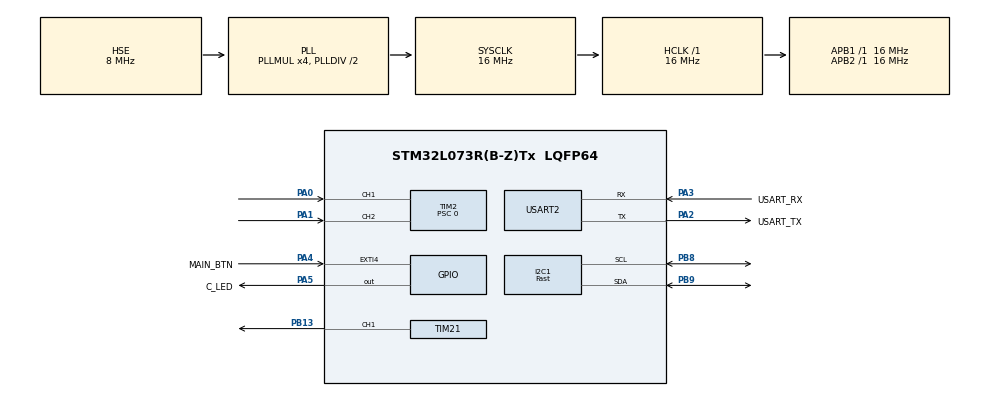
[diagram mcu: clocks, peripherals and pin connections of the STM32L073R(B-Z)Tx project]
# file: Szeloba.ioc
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I2C1.I2C_Speed_Mode=I2C_Fast
I2C1.Timing=0x0010061A
Mcu.Family=STM32L0
Mcu.Name=STM32L073R(B-Z)Tx
Mcu.Package=LQFP64
NVIC.EXTI4_15_IRQn=true\:0\:0\:false\:false\:true\:true\:true\:true
NVIC.TIM21_IRQn=true\:0\:0\:false\:false\:true\:true\:true\:true
NVIC.TIM22_IRQn=true\:0\:0\:false\:false\:true\:true\:true\:true
NVIC.TIM2_IRQn=true\:0\:0\:false\:false\:true\:true\:true\:true
NVIC.TIM6_DAC_IRQn=true\:0\:0\:false\:false\:true\:true\:true\:true
NVIC.TIM7_IRQn=true\:0\:0\:false\:false\:true\:true\:true\:true
PA0.Signal=S_TIM2_CH1
PA1.Signal=S_TIM2_CH2
PA13.GPIO_Label=TMS
PA13.Mode=Serial_Wire
PA13.Signal=SYS_SWDIO
PA14.GPIO_Label=TCK
PA14.Mode=Serial_Wire
PA14.Signal=SYS_SWCLK
PA2.GPIO_Label=USART_TX
PA2.Mode=Asynchronous
PA2.Signal=USART2_TX
PA3.GPIO_Label=USART_RX
PA3.Mode=Asynchronous
PA3.Signal=USART2_RX
PA4.GPIO_Label=MAIN_BTN
PA4.GPIO_ModeDefaultEXTI=GPIO_MODE_IT_FALLING
PA4.GPIO_PuPd=GPIO_PULLUP
PA4.Signal=GPXTI4
PA5.GPIO_Label=C_LED
PA5.Signal=GPIO_Output
PB13.Signal=S_TIM21_CH1
PB8.Mode=I2C
PB8.Signal=I2C1_SCL
PB9.Mode=I2C
PB9.Signal=I2C1_SDA
PC14-OSC32_IN.Mode=LSE-External-Oscillator
PC14-OSC32_IN.Signal=RCC_OSC32_IN
PC15-OSC32_OUT.Mode=LSE-External-Oscillator
PC15-OSC32_OUT.Signal=RCC_OSC32_OUT
PH0-OSC_IN.GPIO_Label=MCO
PH0-OSC_IN.Mode=HSE-External-Clock-Source
PH0-OSC_IN.Signal=RCC_OSC_IN
ProjectManager.HeapSize=0x200
ProjectManager.StackSize=0x400
ProjectManager.TargetToolchain=STM32CubeIDE
RCC.AHBFreq_Value=16000000
RCC.APB1Freq_Value=16000000
RCC.APB1TimFreq_Value=16000000
RCC.APB2Freq_Value=16000000
RCC.APB2TimFreq_Value=16000000
RCC.HCLKFreq_Value=16000000
RCC.HSE_VALUE=8000000
RCC.HSI16_VALUE=16000000
RCC.HSI48_VALUE=48000000
RCC.HSI_VALUE=16000000
RCC.MSI_VALUE=2097000
RCC.PLLMUL=RCC_PLLMUL_4
RCC.PLLSourceVirtual=RCC_PLLSOURCE_HSE
RCC.SYSCLKFreq_VALUE=16000000
RCC.SYSCLKSource=RCC_SYSCLKSOURCE_PLLCLK
RCC.Usart2ClockSelection=RCC_USART2CLKSOURCE_SYSCLK
RCC.VCOOutputFreq_Value=32000000
SH.S_TIM21_CH1.0=TIM21_CH1,PWM Generation1 CH1
SH.S_TIM2_CH1.0=TIM2_CH1,Encoder_Interface
SH.S_TIM2_CH2.0=TIM2_CH2,Encoder_Interface
TIM2.ClockDivision=TIM_CLOCKDIVISION_DIV1
TIM2.CounterMode=TIM_COUNTERMODE_UP
TIM2.EncoderMode=TIM_ENCODERMODE_TI1
TIM2.IC1Filter=15
TIM2.IC1Prescaler=TIM_ICPSC_DIV1
TIM2.IC2Filter=15
TIM2.IC2Prescaler=TIM_ICPSC_DIV1
TIM2.Period=65535
TIM2.Prescaler=0
TIM21.AutoReloadPreload=TIM_AUTORELOAD_PRELOAD_ENABLE
TIM21.Channel-PWM\ Generation1\ CH1=TIM_CHANNEL_1
TIM21.Period=999
TIM21.Prescaler=99
TIM21.Pulse-PWM\ Generation1\ CH1=100
TIM21.TIM_MasterOutputTrigger=TIM_TRGO_UPDATE
TIM21.TIM_MasterSlaveMode=TIM_MASTERSLAVEMODE_ENABLE
TIM22.AutoReloadPreload=TIM_AUTORELOAD_PRELOAD_ENABLE
TIM22.Period=199
TIM6.Period=199
TIM6.Prescaler=7999
TIM7.Period=199
TIM7.Prescaler=7999
USART2.VirtualMode-Asynchronous=VM_ASYNC
VP_TIM21_VS_ClockSourceINT.Mode=Internal
VP_TIM22_VS_ClockSourceITR.Mode=TriggerSource_ITR0
VP_TIM22_VS_ControllerModeClock.Mode=Clock Mode
VP_TIM6_VS_ClockSourceINT.Mode=Enable_Timer
VP_TIM7_VS_ClockSourceINT.Mode=Enable_Timer
board=NUCLEO-L073RZ

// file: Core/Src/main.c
/* USER CODE BEGIN Header */
/**
  ******************************************************************************
  * @file           : main.c
  * @brief          : Main program body
  ******************************************************************************
  * @attention
  *
  * Copyright (c) 2022 STMicroelectronics.
  * All rights reserved.
  *
  * This software is licensed under terms that can be found in the LICENSE file
  * in the root directory of this software component.
  * If no LICENSE file comes with this software, it is provided AS-IS.
  *
  ******************************************************************************
  */
/* USER CODE END Header */
#include "main.h"
#include "i2c.h"
#include "tim.h"
#include "usart.h"
#include "gpio.h"

/* USER CODE BEGIN Includes */
#include "ssd1306_adds.h"

/* USER CODE END Includes */

/* USER CODE BEGIN PV */

// NUMBER OF SAVED PROJECTS
extern const uint8_t G_PROJECT_COUNT;

// MAIN INTERFACE VAR's
extern volatile uint8_t g_workStep;  		// Wskazuje aktualny krok w ustawieniach
extern volatile uint8_t g_projectSelect;  	// Wskazuje aktualnie wybrany projekt w menu wyboru projektow ( step 1)
extern volatile uint8_t g_selector;			// zmienna do wskazania określonej opcji w menu wyboru
extern volatile bool g_correctionFlag;		// informuje, czy ustawienia są wpisywane, czy poprawiane

// TIM2 / ENCODER - LEFT/RIGHT
volatile uint16_t encoderCount				= 0;		// aktualne polozenie enkodera
volatile uint16_t encoderCountPrev 			= 16000; 	// poprzednie polozenie enkodera

// TIM6 / BUTTON
static volatile uint8_t pressBtnCounter		= 0;	// licznik czasu wcisniecia przycisku

// MAIN VAR
volatile uint16_t g_width_MAIN, g_turns_MAIN, g_diameter_MAIN, g_speed_MAIN;

/* USER CODE END PV */

void SystemClock_Config(void);

int main(void)
{

  /* MCU Configuration--------------------------------------------------------*/

  /* Reset of all peripherals, Initializes the Flash interface and the Systick. */
  HAL_Init();

  /* Configure the system clock */
  SystemClock_Config();

  /* Initialize all configured peripherals */
  MX_GPIO_Init();
  MX_USART2_UART_Init();
  MX_I2C1_Init();
  MX_TIM2_Init();
  MX_TIM6_Init();
  MX_TIM7_Init();
  MX_TIM21_Init();
  MX_TIM22_Init();
  /* USER CODE BEGIN 2 */

  // structures initialization
  Structures_Init();

  // display initialization
  SSD1306_Init();
  SSD1306_SetContrast(0);
  Set_Theme();

  // timer TIM2 Encoder
  __HAL_TIM_SET_COUNTER(&TIMER_ENCODER, 32000);
  HAL_TIM_Encoder_Start_IT(&TIMER_ENCODER, TIM_CHANNEL_ALL);

  bool workStart = 0; 					// określa zakończenie konfiguracji wstępnej i start pracy

  /* USER CODE END 2 */

  /* Infinite loop */
  while (1)
  {

    /* USER CODE BEGIN 3 */
	  if (workStart)
	  {
		  //Steppers_Control_Init(g_width_MAIN, g_turns_MAIN, g_diameter_MAIN, g_speed_MAIN);
	  }

  }
  /* USER CODE END 3 */
}

void SystemClock_Config(void)
{
  RCC_OscInitTypeDef RCC_OscInitStruct = {0};
  RCC_ClkInitTypeDef RCC_ClkInitStruct = {0};
  RCC_PeriphCLKInitTypeDef PeriphClkInit = {0};

  /** Configure the main internal regulator output voltage
  */
  __HAL_PWR_VOLTAGESCALING_CONFIG(PWR_REGULATOR_VOLTAGE_SCALE1);

  /** Initializes the RCC Oscillators according to the specified parameters
  * in the RCC_OscInitTypeDef structure.
  */
  RCC_OscInitStruct.OscillatorType = RCC_OSCILLATORTYPE_HSE;
  RCC_OscInitStruct.HSEState = RCC_HSE_BYPASS;
  RCC_OscInitStruct.PLL.PLLState = RCC_PLL_ON;
  RCC_OscInitStruct.PLL.PLLSource = RCC_PLLSOURCE_HSE;
  RCC_OscInitStruct.PLL.PLLMUL = RCC_PLLMUL_4;
  RCC_OscInitStruct.PLL.PLLDIV = RCC_PLLDIV_2;
  if (HAL_RCC_OscConfig(&RCC_OscInitStruct) != HAL_OK)
  {
    Error_Handler();
  }

  /** Initializes the CPU, AHB and APB buses clocks
  */
  RCC_ClkInitStruct.ClockType = RCC_CLOCKTYPE_HCLK|RCC_CLOCKTYPE_SYSCLK
                              |RCC_CLOCKTYPE_PCLK1|RCC_CLOCKTYPE_PCLK2;
  RCC_ClkInitStruct.SYSCLKSource = RCC_SYSCLKSOURCE_PLLCLK;
  RCC_ClkInitStruct.AHBCLKDivider = RCC_SYSCLK_DIV1;
  RCC_ClkInitStruct.APB1CLKDivider = RCC_HCLK_DIV1;
  RCC_ClkInitStruct.APB2CLKDivider = RCC_HCLK_DIV1;

  if (HAL_RCC_ClockConfig(&RCC_ClkInitStruct, FLASH_LATENCY_0) != HAL_OK)
  {
    Error_Handler();
  }
  PeriphClkInit.PeriphClockSelection = RCC_PERIPHCLK_USART2|RCC_PERIPHCLK_I2C1;
  PeriphClkInit.Usart2ClockSelection = RCC_USART2CLKSOURCE_SYSCLK;
  PeriphClkInit.I2c1ClockSelection = RCC_I2C1CLKSOURCE_PCLK1;
  if (HAL_RCCEx_PeriphCLKConfig(&PeriphClkInit) != HAL_OK)
  {
    Error_Handler();
  }
}

/* USER CODE BEGIN 4 */

/* **********************************************IRQ************************************* */
// =========================================================================================
/* TIMERS - ENCODER */
// =========================================================================================
void HAL_TIM_IC_CaptureCallback(TIM_HandleTypeDef *htim)
{
	if (htim->Instance == TIM2)
	{
		uint8_t tim7BusyFlag = HAL_TIM_Base_GetState(&TIMER_ENCODER_BUFFER);
		uint8_t encoderBusyFlag = HAL_TIM_Encoder_GetState(&TIMER_ENCODER);

		if (tim7BusyFlag == 1 && encoderBusyFlag == 1) HAL_TIM_Base_Start_IT(&TIMER_ENCODER_BUFFER);
	}
}

// =========================================================================================
/* TIMERS - COUNTING */
// =========================================================================================
void HAL_TIM_PeriodElapsedCallback(TIM_HandleTypeDef *htim)
{
	// ========================
	/* TIM21 */
	// ========================
	if (htim->Instance == TIM21)
	{
	}
	// ========================
	/* TIM22 */
	// ========================
	if (htim->Instance == TIM22)
	{
		HAL_GPIO_TogglePin(C_LED_GPIO_Port, C_LED_Pin);
	}
	// ========================
	/* TIM6 - CLICK/BTN BUFFER */
	// ========================
	if (htim->Instance == TIM6)
	{
		bool btnBusyFlag = HAL_GPIO_ReadPin(GPIOA, MAIN_BTN_Pin);

		HAL_TIM_Base_Stop_IT(&TIMER_BUTTON_BUFFER);
		if (!btnBusyFlag)
		{
			HAL_TIM_Base_Start_IT(&TIMER_BUTTON_BUFFER);
			if ((g_workStep >= 2 && g_workStep <=61)) pressBtnCounter++;
			if (pressBtnCounter > PRESS_BTN_TIME)
			{
				HAL_TIM_Base_Stop_IT(&TIMER_BUTTON_BUFFER);
				bool exception = 0;
				switch (g_workStep)
				{
					case STEP_PROJECT_DETAILS:
						exception = 1;
						g_workStep = STEP_PROJECT_TASKS_LIST;
						break;
					case STEP_PROJECT_TASKS_LIST:
						exception = 1;
						g_workStep = STEP_SELECT_PROJECT;
						break;
					case STEP_WIDTH_SET:
						g_width_MAIN = Array_To_Int_Change_Value();
						Save_Set_Value(g_width_MAIN);
						break;
					case STEP_TURNS_SET:
						g_turns_MAIN = Array_To_Int_Change_Value();
						Save_Set_Value(g_turns_MAIN);
						break;
					case STEP_DIAMETER_SET:
						g_diameter_MAIN = Array_To_Int_Change_Value();
						Save_Set_Value(g_diameter_MAIN);
						break;
					case STEP_SPEED_SET:
						g_speed_MAIN = Array_To_Int_Change_Value();
						Save_Set_Value(g_speed_MAIN);
						break;
					case STEP_CORRECTNES_QUERY:
						exception = 1;
						if (!g_selector) g_workStep = STEP_START_POSITION_SET;
						else
						{
							g_workStep = STEP_WIDTH_SET;
							g_correctionFlag = 1;
						}
						g_selector = 0;
						break;
				}
				if (!exception)
				{
					g_workStep++;

				}
				pressBtnCounter = 0;
				Set_Theme();
			}
		}
		if (btnBusyFlag)
		{
			pressBtnCounter = 0;
			switch (g_workStep)
			{
				case STEP_SELECT_PROJECT:
					if (g_projectSelect == 0) g_workStep = STEP_WIDTH_SET;
					else g_workStep = STEP_PROJECT_DETAILS;
					Set_Theme();
					break;
				case STEP_PROJECT_DETAILS:
					g_workStep = STEP_SELECT_PROJECT;
					Set_Theme();
					break;
				case STEP_WIDTH_SET:
					Show_Value_Screen(VAL_TYPE_CARCASS_WIDTH, VALUE_CHANGE_FLAG_NO, 0, RUN_FLAG_CONTI);
					break;
				case STEP_TURNS_SET:
					Show_Value_Screen(VAL_TYPE_CARCASS_COIL_TURNS, VALUE_CHANGE_FLAG_NO, 0, RUN_FLAG_CONTI);
					break;
				case STEP_DIAMETER_SET:
					Show_Value_Screen(VAL_TYPE_WINDING_DIAMETER, VALUE_CHANGE_FLAG_NO, 0, RUN_FLAG_CONTI);
					break;
				case STEP_SPEED_SET:
					Show_Value_Screen(VAL_TYPE_WINDING_SPEED, VALUE_CHANGE_FLAG_NO, 0, RUN_FLAG_CONTI);
					break;
				case STEP_SUMMARY:
					g_workStep = STEP_CORRECTNES_QUERY;
					Set_Theme();
					break;
			}
		}
	}

	// ========================
	/* TIM7 - BUFFER LEFT/RIGHT */
	// ========================
	if (htim->Instance == TIM7)
	{
		bool direction;

		HAL_TIM_Base_Stop_IT(&TIMER_ENCODER_BUFFER);
		encoderCount = (__HAL_TIM_GET_COUNTER(&TIMER_ENCODER) / 2);
		if (encoderCount != encoderCountPrev)
		{
			if (encoderCount > encoderCountPrev) direction = 1;
			else direction = 0;
			encoderCountPrev = encoderCount;
			switch (g_workStep)
			{
				case STEP_SELECT_PROJECT:
					if (!direction)
					{
						if (g_projectSelect > 0) g_projectSelect--;
					}
					else
					{
						if ((g_projectSelect) < G_PROJECT_COUNT) g_projectSelect++;
					}
					Set_Theme();
					break;
				case STEP_PROJECT_TASKS_LIST:
					break;
				case STEP_WIDTH_SET:
					Show_Value_Screen(VAL_TYPE_CARCASS_WIDTH, VALUE_CHANGE_FLAG_YES, direction, RUN_FLAG_CONTI);
					break;
				case STEP_TURNS_SET:
					Show_Value_Screen(VAL_TYPE_CARCASS_COIL_TURNS, VALUE_CHANGE_FLAG_YES, direction, RUN_FLAG_CONTI);
					break;
				case STEP_DIAMETER_SET:
					Show_Value_Screen(VAL_TYPE_WINDING_DIAMETER, VALUE_CHANGE_FLAG_YES, direction, RUN_FLAG_CONTI);
					break;
				case STEP_SPEED_SET:
					Show_Value_Screen(VAL_TYPE_WINDING_SPEED, VALUE_CHANGE_FLAG_YES, direction, RUN_FLAG_CONTI);
					break;
				case STEP_CORRECTNES_QUERY:
					Show_Summary_Correctness_Query(direction, RUN_FLAG_CONTI);
					break;

			}
		}
	}
}

// =========================================================================================
/* GPIO */
// =========================================================================================
void HAL_GPIO_EXTI_Callback(uint16_t GPIO_Pin)
{
	uint8_t tim6BusyFlag = HAL_TIM_Base_GetState(&TIMER_BUTTON_BUFFER);
	uint8_t tim7BusyFlag = HAL_TIM_Base_GetState(&TIMER_ENCODER_BUFFER);
	if ((tim6BusyFlag == 1) && (tim7BusyFlag == 1))
	{
		if (GPIO_Pin == MAIN_BTN_Pin) HAL_TIM_Base_Start_IT(&TIMER_BUTTON_BUFFER);
	}
}
// =========================================================================================
// -----------------------------------------------------------------------------------------

/* USER CODE END 4 */

void Error_Handler(void)
{
  __disable_irq();
  while (1)
  {
  }
}
